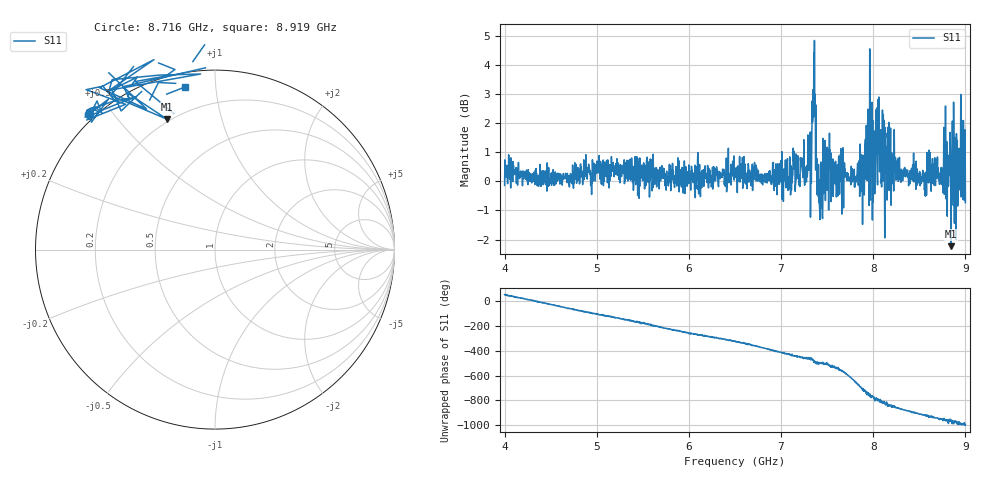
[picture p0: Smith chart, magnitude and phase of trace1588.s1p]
! Created with skrf 1.8.0 (http://scikit-rf.org).
# Hz S RI R 50.0
!freq ReS11 ImS11
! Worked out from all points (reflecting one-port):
!   1601 points, 4 GHz to 9 GHz, reference 50 ohm
!   lowest |S11| = -2.2 dB at 8.844 GHz (marker M1), VSWR 7.84, Z = 9.42 + j34.1 ohm
!   phase of S11 starts at 53 deg and turns -1046 deg over the sweep
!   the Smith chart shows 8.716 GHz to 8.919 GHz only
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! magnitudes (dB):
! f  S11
! 4 GHz  -0.1
! 4.625 GHz  -0.1
! 5.25 GHz  0.0
! 5.875 GHz  0.1
! 6.5 GHz  0.3
! 7.125 GHz  0.2
! 7.262 GHz  0.0
! 7.306 GHz  0.9
! 7.356 GHz  4.4
! 7.381 GHz  0.6
! 7.4 GHz  0.3
! 7.428 GHz  -0.6
! 7.512 GHz  1.1
! 7.591 GHz  0.7
! 7.65 GHz  1.1
! 7.75 GHz  0.0
! 7.878 GHz  -0.1
! 7.938 GHz  1.5
! 7.991 GHz  -1.3
! 8.05 GHz  2.8
! 8.1 GHz  2.5
! 8.162 GHz  0.8
! 8.216 GHz  0.6
! 8.375 GHz  0.2
! 8.809 GHz  0.9
! 8.844 GHz  -2.2
! 8.972 GHz  0.6
! 9 GHz  -0.7
